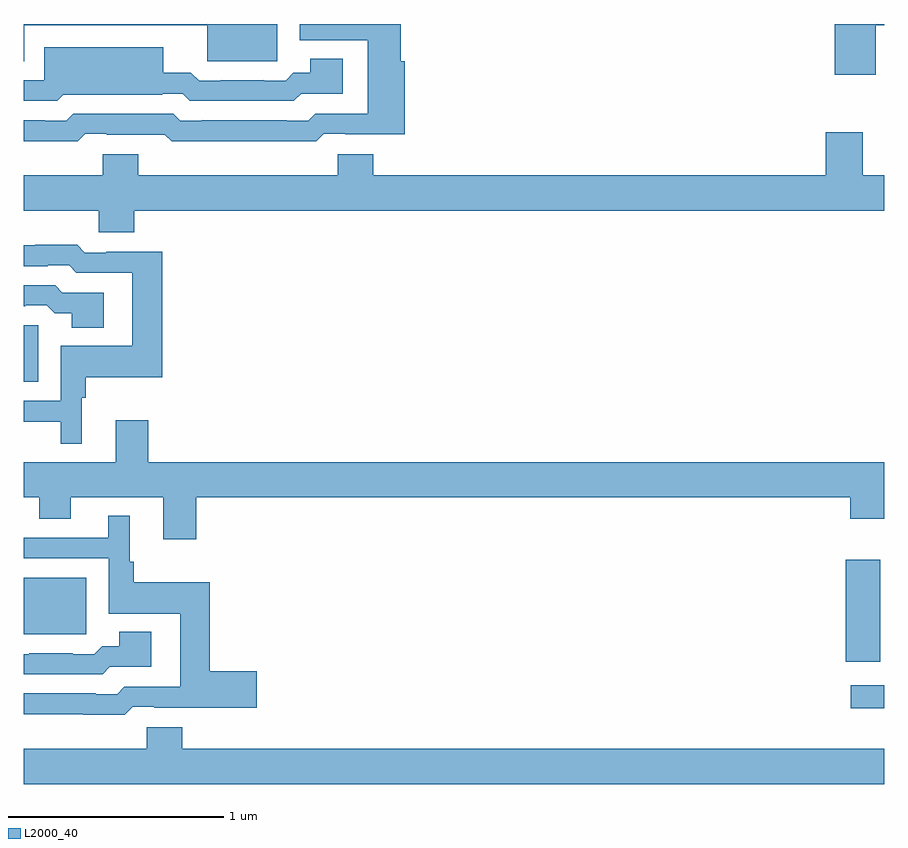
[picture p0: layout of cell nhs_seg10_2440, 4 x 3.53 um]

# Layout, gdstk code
import gdstk
lib = gdstk.Library(unit=1e-6, precision=1e-09)
def R(c, l, rs):  # rectangles x0, y0, x1, y1
    for r in rs: c.add(gdstk.rectangle(r[:2], r[2:], *l))
def P(c, l, *ps):  # polygons
    for p in ps: c.add(gdstk.Polygon(p, *l))
L2000_40 = (2000, 40)

nhs_seg10_2440 = lib.new_cell('nhs_seg10_2440')
R(nhs_seg10_2440, L2000_40, [(244.845,1315.319,245,1315.426), (244.82,1315.536,244.981,1316.011), (241,1316.837,241.069,1317.1)])
P(nhs_seg10_2440, L2000_40, [(241.003,1318.494),(241.853,1318.494),(241.853,1318.328),(242.179,1318.328),(242.179,1318.5),(241,1318.5),(241,1318.328),(241.003,1318.328)],
  [(244.96,1318.494),(245,1318.494),(245,1318.5),(244.769,1318.5),(244.769,1318.265),(244.96,1318.265)],
  [(241.287,1317.99),(241.387,1317.99),(241.387,1317.986),(241.655,1317.986),(241.688,1317.954),(241.886,1317.954),(241.886,1317.956),(242.164,1317.956),(242.164,1317.954),(242.359,1317.954),(242.395,1317.99),(242.494,1317.99),(242.494,1317.987),(242.771,1317.987),(242.771,1318.326),(242.753,1318.326),(242.753,1318.5),(242.283,1318.5),(242.283,1318.424),(242.6,1318.424),(242.6,1318.083),(242.355,1318.083),(242.322,1318.05),(242.222,1318.05),(242.222,1318.053),(241.828,1318.053),(241.828,1318.05),(241.728,1318.05),(241.695,1318.083),(241.23,1318.083),(241.197,1318.05),(241.097,1318.05),(241.097,1318.053),(241,1318.053),(241,1317.956),(241.026,1317.956),(241.026,1317.954),(241.251,1317.954)],
  [(241.185,1318.172),(241.643,1318.172),(241.643,1318.176),(241.739,1318.176),(241.772,1318.143),(242.256,1318.143),(242.289,1318.176),(242.482,1318.176),(242.482,1318.339),(242.333,1318.339),(242.333,1318.273),(242.254,1318.273),(242.217,1318.236),(242.117,1318.236),(242.117,1318.239),(241.915,1318.239),(241.915,1318.236),(241.815,1318.236),(241.777,1318.274),(241.648,1318.274),(241.648,1318.393),(241.095,1318.393),(241.095,1318.239),(241,1318.239),(241,1318.143),(241.156,1318.143)],
  [(241.514,1317.632),(245,1317.632),(245,1317.796),(244.899,1317.796),(244.899,1317.997),(244.727,1317.997),(244.727,1317.796),(242.624,1317.796),(242.624,1317.895),(242.459,1317.895),(242.459,1317.796),(241.532,1317.796),(241.532,1317.895),(241.367,1317.895),(241.367,1317.796),(241,1317.796),(241,1317.632),(241.349,1317.632),(241.349,1317.533),(241.514,1317.533)],
  [(241.27,1316.762),(241.289,1316.762),(241.289,1316.858),(241.643,1316.858),(241.643,1317.441),(241.384,1317.441),(241.384,1317.438),(241.285,1317.438),(241.249,1317.475),(241.054,1317.475),(241.054,1317.472),(241,1317.472),(241,1317.375),(241.112,1317.375),(241.112,1317.378),(241.212,1317.378),(241.245,1317.345),(241.505,1317.345),(241.505,1317.004),(241.173,1317.004),(241.173,1316.748),(241,1316.748),(241,1316.652),(241.172,1316.652),(241.172,1316.549),(241.27,1316.549)],
  [(241.372,1317.252),(241.179,1317.252),(241.146,1317.285),(241,1317.285),(241,1317.189),(241.007,1317.189),(241.007,1317.192),(241.107,1317.192),(241.144,1317.156),(241.223,1317.156),(241.223,1317.089),(241.372,1317.089)],
  [(241.427,1316.659),(241.427,1316.464),(241,1316.464),(241,1316.3),(241.072,1316.3),(241.072,1316.201),(241.219,1316.201),(241.219,1316.3),(241.649,1316.3),(241.649,1316.106),(241.802,1316.106),(241.802,1316.3),(244.841,1316.3),(244.841,1316.201),(245,1316.201),(245,1316.464),(241.58,1316.464),(241.58,1316.659)],
  [(241.507,1315.326),(241.606,1315.326),(241.606,1315.322),(242.083,1315.322),(242.083,1315.493),(241.865,1315.493),(241.865,1315.906),(241.511,1315.906),(241.511,1316.002),(241.492,1316.002),(241.492,1316.215),(241.394,1316.215),(241.394,1316.112),(241,1316.112),(241,1316.016),(241.395,1316.016),(241.395,1315.76),(241.727,1315.76),(241.727,1315.419),(241.467,1315.419),(241.434,1315.386),(241.334,1315.386),(241.334,1315.389),(241,1315.389),(241,1315.292),(241.276,1315.292),(241.276,1315.29),(241.471,1315.29)],
  [(241.291,1315.927),(241.069,1315.927),(241.069,1315.926),(241,1315.926),(241,1315.664),(241.291,1315.664)],
  [(241.401,1315.512),(241.594,1315.512),(241.594,1315.675),(241.445,1315.675),(241.445,1315.609),(241.366,1315.609),(241.329,1315.572),(241.229,1315.572),(241.229,1315.575),(241.027,1315.575),(241.027,1315.572),(241,1315.572),(241,1315.479),(241.368,1315.479)],
  [(245,1315.132),(241.736,1315.132),(241.736,1315.231),(241.571,1315.231),(241.571,1315.132),(241,1315.132),(241,1314.968),(245,1314.968)])

lib.write_gds('nhs_seg10_2440.gds')
